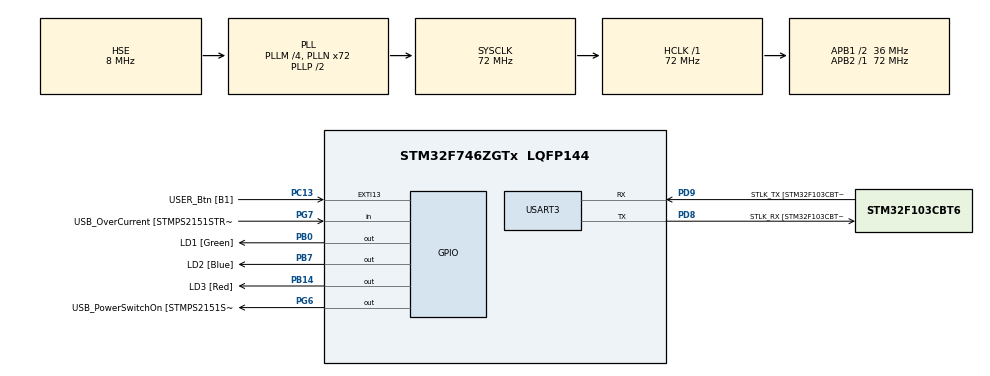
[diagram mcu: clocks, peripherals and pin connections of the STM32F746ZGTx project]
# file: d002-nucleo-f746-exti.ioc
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Mcu.Family=STM32F7
Mcu.Name=STM32F746ZGTx
Mcu.Package=LQFP144
NVIC.EXTI15_10_IRQn=true\:0\:0\:false\:false\:true\:true\:true
NVIC.PriorityGroup=NVIC_PRIORITYGROUP_4
PA1.GPIO_Label=RMII_REF_CLK [LAN8742A-CZ-TR_REFCLK0]
PA1.Signal=ETH_REF_CLK
PA10.GPIO_Label=USB_ID
PA10.Signal=USB_OTG_FS_ID
PA11.GPIO_Label=USB_DM
PA11.Signal=USB_OTG_FS_DM
PA12.GPIO_Label=USB_DP
PA12.Signal=USB_OTG_FS_DP
PA13.GPIO_Label=TMS
PA13.Mode=Serial_Wire
PA13.Signal=SYS_JTMS-SWDIO
PA14.GPIO_Label=TCK
PA14.Mode=Serial_Wire
PA14.Signal=SYS_JTCK-SWCLK
PA2.GPIO_Label=RMII_MDIO [LAN8742A-CZ-TR_MDIO]
PA2.Signal=ETH_MDIO
PA7.GPIO_Label=RMII_CRS_DV [LAN8742A-CZ-TR_CRS_DV]
PA7.Signal=ETH_CRS_DV
PA8.GPIO_Label=USB_SOF [TP1]
PA8.Signal=USB_OTG_FS_SOF
PA9.GPIO_Label=USB_VBUS
PA9.Signal=USB_OTG_FS_VBUS
PB0.GPIO_Label=LD1 [Green]
PB0.Signal=GPIO_Output
PB13.GPIO_Label=RMII_TXD1 [LAN8742A-CZ-TR_TXD1]
PB13.Signal=ETH_TXD1
PB14.GPIO_Label=LD3 [Red]
PB14.Signal=GPIO_Output
PB3.GPIO_Label=SW0
PB3.Signal=SYS_JTDO-SWO
PB7.GPIO_Label=LD2 [Blue]
PB7.Signal=GPIO_Output
PC1.GPIO_Label=RMII_MDC [LAN8742A-CZ-TR_MDC]
PC1.Signal=ETH_MDC
PC13.GPIO_Label=USER_Btn [B1]
PC13.Signal=GPXTI13
PC14/OSC32_IN.Mode=LSE-External-Oscillator
PC14/OSC32_IN.Signal=RCC_OSC32_IN
PC15/OSC32_OUT.Mode=LSE-External-Oscillator
PC15/OSC32_OUT.Signal=RCC_OSC32_OUT
PC4.GPIO_Label=RMII_RXD0 [LAN8742A-CZ-TR_RXD0]
PC4.Signal=ETH_RXD0
PC5.GPIO_Label=RMII_RXD1 [LAN8742A-CZ-TR_RXD1]
PC5.Signal=ETH_RXD1
PD8.GPIO_Label=STLK_RX [STM32F103CBT6_PA3]
PD8.Mode=Asynchronous
PD8.Signal=USART3_TX
PD9.GPIO_Label=STLK_TX [STM32F103CBT6_PA2]
PD9.Mode=Asynchronous
PD9.Signal=USART3_RX
PG11.GPIO_Label=RMII_TX_EN [LAN8742A-CZ-TR_TXEN]
PG11.Signal=ETH_TX_EN
PG13.GPIO_Label=RMII_TXD0 [LAN8742A-CZ-TR_TXD0]
PG13.Signal=ETH_TXD0
PG6.GPIO_Label=USB_PowerSwitchOn [STMPS2151STR_EN]
PG6.Signal=GPIO_Output
PG7.GPIO_Label=USB_OverCurrent [STMPS2151STR_FAULT]
PG7.Signal=GPIO_Input
PH0/OSC_IN.GPIO_Label=MCO [STM32F103CBT6_PA8]
PH0/OSC_IN.Mode=HSE-External-Clock-Source
PH0/OSC_IN.Signal=RCC_OSC_IN
PH1/OSC_OUT.Mode=HSE-External-Clock-Source
PH1/OSC_OUT.Signal=RCC_OSC_OUT
ProjectManager.HeapSize=0x200
ProjectManager.StackSize=0x400
ProjectManager.TargetToolchain=STM32CubeIDE
RCC.48MHZClocksFreq_Value=24000000
RCC.AHBFreq_Value=72000000
RCC.APB1CLKDivider=RCC_HCLK_DIV2
RCC.APB1Freq_Value=36000000
RCC.APB1TimFreq_Value=72000000
RCC.APB2Freq_Value=72000000
RCC.APB2TimFreq_Value=72000000
RCC.CortexFreq_Value=72000000
RCC.HCLKFreq_Value=72000000
RCC.HSE_VALUE=8000000
RCC.HSI_VALUE=16000000
RCC.PLLM=4
RCC.PLLMUL=RCC_PLL_MUL9
RCC.PLLN=72
RCC.PLLQ=3
RCC.PLLSourceVirtual=RCC_PLLSOURCE_HSE
RCC.PRESCALERUSB=RCC_USBCLKSOURCE_PLL_DIV1_5
RCC.SYSCLKFreq_VALUE=72000000
RCC.SYSCLKSource=RCC_SYSCLKSOURCE_PLLCLK
RCC.SYSCLKSourceVirtual=RCC_SYSCLKSOURCE_PLLCLK
RCC.USBFreq_Value=48000000
RCC.VCOOutputFreq_Value=144000000
USART3.VirtualMode-Asynchronous=VM_ASYNC
board=NUCLEO-F746ZG

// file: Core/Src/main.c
/* USER CODE BEGIN Header */
/**
 ******************************************************************************
 * @file           : main.c
 * @brief          : Main program body
 ******************************************************************************
 * @attention
 *
 * <h2><center>&copy; Copyright (c) 2020 STMicroelectronics.
 * All rights reserved.</center></h2>
 *
 * This software component is licensed by ST under BSD 3-Clause license,
 * the "License"; You may not use this file except in compliance with the
 * License. You may obtain a copy of the License at:
 *                        opensource.org/licenses/BSD-3-Clause
 *
 ******************************************************************************
 */
/* USER CODE END Header */
#include "main.h"

UART_HandleTypeDef huart3;

void SystemClock_Config(void);
static void MX_GPIO_Init(void);
static void MX_USART3_UART_Init(void);

/* USER CODE BEGIN 0 */

void HAL_GPIO_EXTI_Callback(uint16_t GPIO_Pin)
{
    if (GPIO_Pin == GPIO_PIN_13)
    {
        HAL_GPIO_TogglePin(LD2_GPIO_Port, LD2_Pin);
        HAL_GPIO_TogglePin(LD3_GPIO_Port, LD3_Pin);
    }
}

/* USER CODE END 0 */

int main(void)
{
  /* USER CODE BEGIN 1 */

    EXTI_HandleTypeDef hexti_b1 = { 0 };
    EXTI_ConfigTypeDef hexti_b1_config;
  /* USER CODE END 1 */

  /* MCU Configuration--------------------------------------------------------*/

  /* Reset of all peripherals, Initializes the Flash interface and the Systick. */
  HAL_Init();

  /* Configure the system clock */
  SystemClock_Config();

  /* Initialize all configured peripherals */
  MX_GPIO_Init();
  MX_USART3_UART_Init();
  /* USER CODE BEGIN 2 */

    // Turn LD2(Blue) on, Turn LD3(Red) off.
    HAL_GPIO_WritePin(LD2_GPIO_Port, LD2_Pin, GPIO_PIN_SET);
    HAL_GPIO_WritePin(LD3_GPIO_Port, LD3_Pin, GPIO_PIN_RESET);

    // Get the handle of the EXTI 13 ( B1 switch )
    HAL_EXTI_GetHandle(&hexti_b1, EXTI_LINE_13);

    // Save the configuration of the EXTI 13. This is set as  edge interrupt, by  initializer.
    HAL_EXTI_GetConfigLine(
                           &hexti_b1,
                           &hexti_b1_config
                           );

    // Clear the EXTI 13. Interrupt is disabled.
    HAL_EXTI_ClearConfigLine(&hexti_b1);

    // Restore the EXTI13 configuration. Now, it should be  edge trigger.
    HAL_EXTI_SetConfigLine(&hexti_b1, &hexti_b1_config);
  /* USER CODE END 2 */

  /* Infinite loop */
    while (1)
    {

    }
}

void SystemClock_Config(void)
{
  RCC_OscInitTypeDef RCC_OscInitStruct = {0};
  RCC_ClkInitTypeDef RCC_ClkInitStruct = {0};
  RCC_PeriphCLKInitTypeDef PeriphClkInitStruct = {0};

  /** Configure LSE Drive Capability
  */
  HAL_PWR_EnableBkUpAccess();
  /** Configure the main internal regulator output voltage
  */
  __HAL_RCC_PWR_CLK_ENABLE();
  __HAL_PWR_VOLTAGESCALING_CONFIG(PWR_REGULATOR_VOLTAGE_SCALE3);
  /** Initializes the RCC Oscillators according to the specified parameters
  * in the RCC_OscInitTypeDef structure.
  */
  RCC_OscInitStruct.OscillatorType = RCC_OSCILLATORTYPE_HSE;
  RCC_OscInitStruct.HSEState = RCC_HSE_BYPASS;
  RCC_OscInitStruct.PLL.PLLState = RCC_PLL_ON;
  RCC_OscInitStruct.PLL.PLLSource = RCC_PLLSOURCE_HSE;
  RCC_OscInitStruct.PLL.PLLM = 4;
  RCC_OscInitStruct.PLL.PLLN = 72;
  RCC_OscInitStruct.PLL.PLLP = RCC_PLLP_DIV2;
  RCC_OscInitStruct.PLL.PLLQ = 3;
  if (HAL_RCC_OscConfig(&RCC_OscInitStruct) != HAL_OK)
  {
    Error_Handler();
  }
  /** Initializes the CPU, AHB and APB buses clocks
  */
  RCC_ClkInitStruct.ClockType = RCC_CLOCKTYPE_HCLK|RCC_CLOCKTYPE_SYSCLK
                              |RCC_CLOCKTYPE_PCLK1|RCC_CLOCKTYPE_PCLK2;
  RCC_ClkInitStruct.SYSCLKSource = RCC_SYSCLKSOURCE_PLLCLK;
  RCC_ClkInitStruct.AHBCLKDivider = RCC_SYSCLK_DIV1;
  RCC_ClkInitStruct.APB1CLKDivider = RCC_HCLK_DIV2;
  RCC_ClkInitStruct.APB2CLKDivider = RCC_HCLK_DIV1;

  if (HAL_RCC_ClockConfig(&RCC_ClkInitStruct, FLASH_LATENCY_2) != HAL_OK)
  {
    Error_Handler();
  }
  PeriphClkInitStruct.PeriphClockSelection = RCC_PERIPHCLK_USART3;
  PeriphClkInitStruct.Usart3ClockSelection = RCC_USART3CLKSOURCE_PCLK1;
  if (HAL_RCCEx_PeriphCLKConfig(&PeriphClkInitStruct) != HAL_OK)
  {
    Error_Handler();
  }
}

static void MX_USART3_UART_Init(void)
{

  huart3.Instance = USART3;
  huart3.Init.BaudRate = 115200;
  huart3.Init.WordLength = UART_WORDLENGTH_8B;
  huart3.Init.StopBits = UART_STOPBITS_1;
  huart3.Init.Parity = UART_PARITY_NONE;
  huart3.Init.Mode = UART_MODE_TX_RX;
  huart3.Init.HwFlowCtl = UART_HWCONTROL_NONE;
  huart3.Init.OverSampling = UART_OVERSAMPLING_16;
  huart3.Init.OneBitSampling = UART_ONE_BIT_SAMPLE_DISABLE;
  huart3.AdvancedInit.AdvFeatureInit = UART_ADVFEATURE_NO_INIT;
  if (HAL_UART_Init(&huart3) != HAL_OK)
  {
    Error_Handler();
  }

}

static void MX_GPIO_Init(void)
{
  GPIO_InitTypeDef GPIO_InitStruct = {0};

  /* GPIO Ports Clock Enable */
  __HAL_RCC_GPIOC_CLK_ENABLE();
  __HAL_RCC_GPIOH_CLK_ENABLE();
  __HAL_RCC_GPIOA_CLK_ENABLE();
  __HAL_RCC_GPIOB_CLK_ENABLE();
  __HAL_RCC_GPIOD_CLK_ENABLE();
  __HAL_RCC_GPIOG_CLK_ENABLE();

  /*Configure GPIO pin Output Level */
  HAL_GPIO_WritePin(GPIOB, LD1_Pin|LD3_Pin|LD2_Pin, GPIO_PIN_RESET);

  /*Configure GPIO pin Output Level */
  HAL_GPIO_WritePin(USB_PowerSwitchOn_GPIO_Port, USB_PowerSwitchOn_Pin, GPIO_PIN_RESET);

  /*Configure GPIO pin : USER_Btn_Pin */
  GPIO_InitStruct.Pin = USER_Btn_Pin;
  GPIO_InitStruct.Mode = GPIO_MODE_IT_RISING;
  GPIO_InitStruct.Pull = GPIO_NOPULL;
  HAL_GPIO_Init(USER_Btn_GPIO_Port, &GPIO_InitStruct);

  /*Configure GPIO pins : RMII_MDC_Pin RMII_RXD0_Pin RMII_RXD1_Pin */
  GPIO_InitStruct.Pin = RMII_MDC_Pin|RMII_RXD0_Pin|RMII_RXD1_Pin;
  GPIO_InitStruct.Mode = GPIO_MODE_AF_PP;
  GPIO_InitStruct.Pull = GPIO_NOPULL;
  GPIO_InitStruct.Speed = GPIO_SPEED_FREQ_VERY_HIGH;
  GPIO_InitStruct.Alternate = GPIO_AF11_ETH;
  HAL_GPIO_Init(GPIOC, &GPIO_InitStruct);

  /*Configure GPIO pins : RMII_REF_CLK_Pin RMII_MDIO_Pin RMII_CRS_DV_Pin */
  GPIO_InitStruct.Pin = RMII_REF_CLK_Pin|RMII_MDIO_Pin|RMII_CRS_DV_Pin;
  GPIO_InitStruct.Mode = GPIO_MODE_AF_PP;
  GPIO_InitStruct.Pull = GPIO_NOPULL;
  GPIO_InitStruct.Speed = GPIO_SPEED_FREQ_VERY_HIGH;
  GPIO_InitStruct.Alternate = GPIO_AF11_ETH;
  HAL_GPIO_Init(GPIOA, &GPIO_InitStruct);

  /*Configure GPIO pins : LD1_Pin LD3_Pin LD2_Pin */
  GPIO_InitStruct.Pin = LD1_Pin|LD3_Pin|LD2_Pin;
  GPIO_InitStruct.Mode = GPIO_MODE_OUTPUT_PP;
  GPIO_InitStruct.Pull = GPIO_NOPULL;
  GPIO_InitStruct.Speed = GPIO_SPEED_FREQ_LOW;
  HAL_GPIO_Init(GPIOB, &GPIO_InitStruct);

  /*Configure GPIO pin : RMII_TXD1_Pin */
  GPIO_InitStruct.Pin = RMII_TXD1_Pin;
  GPIO_InitStruct.Mode = GPIO_MODE_AF_PP;
  GPIO_InitStruct.Pull = GPIO_NOPULL;
  GPIO_InitStruct.Speed = GPIO_SPEED_FREQ_VERY_HIGH;
  GPIO_InitStruct.Alternate = GPIO_AF11_ETH;
  HAL_GPIO_Init(RMII_TXD1_GPIO_Port, &GPIO_InitStruct);

  /*Configure GPIO pin : USB_PowerSwitchOn_Pin */
  GPIO_InitStruct.Pin = USB_PowerSwitchOn_Pin;
  GPIO_InitStruct.Mode = GPIO_MODE_OUTPUT_PP;
  GPIO_InitStruct.Pull = GPIO_NOPULL;
  GPIO_InitStruct.Speed = GPIO_SPEED_FREQ_LOW;
  HAL_GPIO_Init(USB_PowerSwitchOn_GPIO_Port, &GPIO_InitStruct);

  /*Configure GPIO pin : USB_OverCurrent_Pin */
  GPIO_InitStruct.Pin = USB_OverCurrent_Pin;
  GPIO_InitStruct.Mode = GPIO_MODE_INPUT;
  GPIO_InitStruct.Pull = GPIO_NOPULL;
  HAL_GPIO_Init(USB_OverCurrent_GPIO_Port, &GPIO_InitStruct);

  /*Configure GPIO pins : USB_SOF_Pin USB_ID_Pin USB_DM_Pin USB_DP_Pin */
  GPIO_InitStruct.Pin = USB_SOF_Pin|USB_ID_Pin|USB_DM_Pin|USB_DP_Pin;
  GPIO_InitStruct.Mode = GPIO_MODE_AF_PP;
  GPIO_InitStruct.Pull = GPIO_NOPULL;
  GPIO_InitStruct.Speed = GPIO_SPEED_FREQ_VERY_HIGH;
  GPIO_InitStruct.Alternate = GPIO_AF10_OTG_FS;
  HAL_GPIO_Init(GPIOA, &GPIO_InitStruct);

  /*Configure GPIO pin : USB_VBUS_Pin */
  GPIO_InitStruct.Pin = USB_VBUS_Pin;
  GPIO_InitStruct.Mode = GPIO_MODE_INPUT;
  GPIO_InitStruct.Pull = GPIO_NOPULL;
  HAL_GPIO_Init(USB_VBUS_GPIO_Port, &GPIO_InitStruct);

  /*Configure GPIO pins : RMII_TX_EN_Pin RMII_TXD0_Pin */
  GPIO_InitStruct.Pin = RMII_TX_EN_Pin|RMII_TXD0_Pin;
  GPIO_InitStruct.Mode = GPIO_MODE_AF_PP;
  GPIO_InitStruct.Pull = GPIO_NOPULL;
  GPIO_InitStruct.Speed = GPIO_SPEED_FREQ_VERY_HIGH;
  GPIO_InitStruct.Alternate = GPIO_AF11_ETH;
  HAL_GPIO_Init(GPIOG, &GPIO_InitStruct);

  /* EXTI interrupt init*/
  HAL_NVIC_SetPriority(EXTI15_10_IRQn, 0, 0);
  HAL_NVIC_EnableIRQ(EXTI15_10_IRQn);

}

void Error_Handler(void)
{
}

/************************ (C) COPYRIGHT STMicroelectronics *****END OF FILE****/
